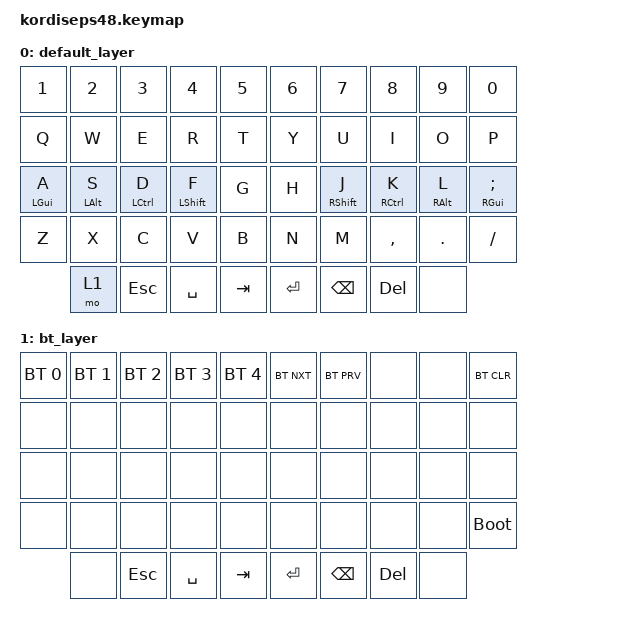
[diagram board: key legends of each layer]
#include <behaviors.dtsi>
#include <dt-bindings/zmk/keys.h>
#include <dt-bindings/zmk/bt.h>

/ {
	keymap {
		compatible = "zmk,keymap"; 

		default_layer {
			bindings = <
 &kp N1 &kp N2 &kp N3 &kp N4 &kp N5 &kp N6 &kp N7 &kp N8 &kp N9 &kp N0
 &kp Q &kp W &kp E &kp R &kp T &kp Y &kp U &kp I &kp O &kp P
 &mt LGUI A &mt LALT S &mt LCTRL D &mt LSHFT F &kp G &kp H &mt RSHFT J &mt RCTRL K &mt RALT L &mt RGUI SEMICOLON
 &kp Z &kp X &kp C &kp V &kp B &kp N &kp M &kp COMMA &kp DOT &kp SLASH
 &mo 1 &kp ESC &kp SPACE &kp TAB &kp RETURN &kp BACKSPACE &kp DEL &none
      >;
    };

    bt_layer {
			bindings = <
 &bt BT_SEL 0 &bt BT_SEL 1 &bt BT_SEL 2 &bt BT_SEL 3 &bt BT_SEL 4 &bt BT_NXT &bt BT_PRV &none &none &bt BT_CLR
 &none &none &none &none &none &none &none &none &none &none
 &none &none &none &none &none &none &none &none &none &none
 &none &none &none &none &none &none &none &none &none &bootloader
 &none &kp ESC &kp SPACE &kp TAB &kp RETURN &kp BACKSPACE &kp DEL &none
      >;
    };
  };
};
